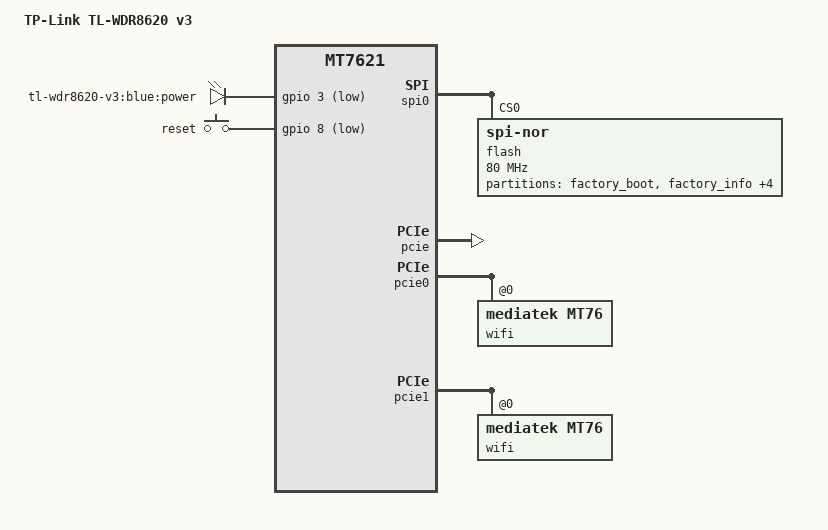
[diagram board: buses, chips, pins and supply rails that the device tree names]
// SPDX-License-Identifier: GPL-2.0-or-later OR MIT
/dts-v1/;

#include "mt7621.dtsi"

#include <dt-bindings/gpio/gpio.h>
#include <dt-bindings/input/input.h>

/ {
	compatible = "tplink,tl-wdr8620-v3", "mediatek,mt7621-soc";
	model = "TP-Link TL-WDR8620 v3";

	aliases {
		led-boot = &led_power;
		led-failsafe = &led_power;
		led-running = &led_power;
		led-upgrade = &led_power;
		label-mac-device = &gmac0;
	};

	chosen {
		bootargs = "console=ttyS0,57600";
	};

	leds {
		compatible = "gpio-leds";

		led_power: power {
			label = "tl-wdr8620-v3:blue:power";
			gpios = <&gpio 3 GPIO_ACTIVE_LOW>;
		};
	};

	keys {
		compatible = "gpio-keys";

		reset {
			label = "reset";
			gpios = <&gpio 8 GPIO_ACTIVE_LOW>;
			linux,code = <KEY_RESTART>;
		};
	};
};

&spi0 {
	status = "okay";

	flash@0 {
		compatible = "jedec,spi-nor";
		reg = <0>;
		spi-max-frequency = <80000000>;
		m25p,fast-read;

		partitions {
			compatible = "fixed-partitions";
			#address-cells = <1>;
			#size-cells = <1>;

			partition@0 {
				label = "factory_boot";
				reg = <0x0 0x1d800>;
				read-only;
			};

			factory_info: partition@1d800 {
				label = "factory_info";
				reg = <0x1d800 0x800>;
				read-only;
			};

			art: partition@1e000 {
				label = "art";
				reg = <0x1e000 0x2000>;
				read-only;
			};

			partition@20000 {
				label = "config";
				reg = <0x20000 0x10000>;
				read-only;
			};

			partition@30000 {
				label = "normal_boot";
				reg = <0x30000 0x10000>;
				read-only;
			};

			partition@40000 {
				compatible = "denx,uimage";
				label = "firmware";
				reg = <0x40000 0x7c0000>;
			};
		};
	};
};

&pcie {
	status = "okay";
};

&pcie0 {
	wifi@0,0 {
		compatible = "mediatek,mt76";
		reg = <0x0000 0 0 0 0>;
		mediatek,mtd-eeprom = <&art 0x0>;
		ieee80211-freq-limit = <2400000 2500000>;
		mtd-mac-address = <&factory_info 0xd>;
	};
};

&pcie1 {
	wifi@0,0 {
		compatible = "mediatek,mt76";
		reg = <0x0000 0 0 0 0>;
		mediatek,mtd-eeprom = <&art 0x1000>;
		ieee80211-freq-limit = <5000000 6000000>;
		mtd-mac-address = <&factory_info 0xd>;
		mtd-mac-address-increment = <2>;
	};
};

&gmac0 {
	mtd-mac-address = <&factory_info 0xd>;
};

&switch0 {
	ports {
		port@0 {
			status = "okay";
			label = "wan";
			mtd-mac-address = <&factory_info 0xd>;
			mtd-mac-address-increment = <1>;
		};

		port@1 {
			status = "okay";
			label = "lan1";
		};

		port@2 {
			status = "okay";
			label = "lan2";
		};

		port@3 {
			status = "okay";
			label = "lan3";
		};

		port@4 {
			status = "okay";
			label = "lan4";
		};
	};
};

&state_default {
	gpio {
		groups = "i2c", "uart3";
		function = "gpio";
	};
};
